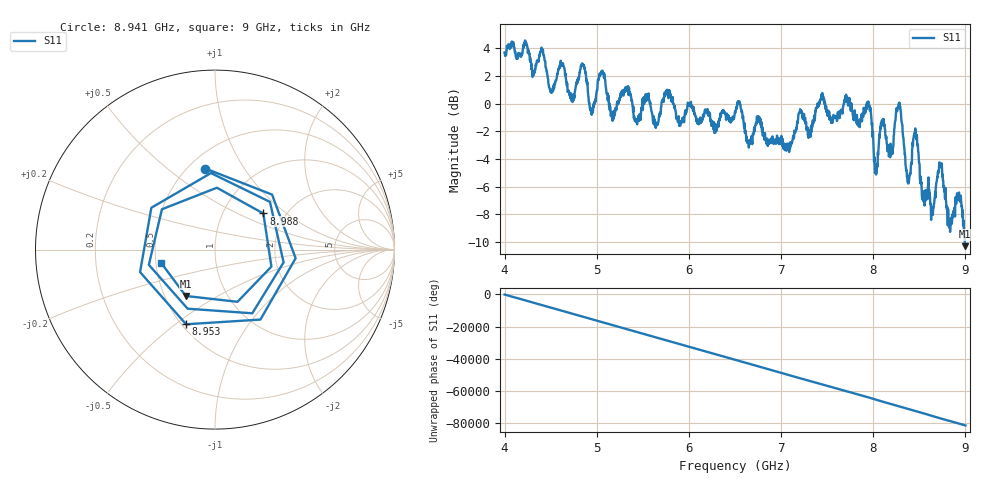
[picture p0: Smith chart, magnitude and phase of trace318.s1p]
! Created with skrf 1.8.0 (http://scikit-rf.org).
# Hz S RI R 50.0
!freq ReS11 ImS11
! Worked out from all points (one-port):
!   1601 points, 4 GHz to 9 GHz, reference 50 ohm
!   lowest |S11| = -10.3 dB at 8.997 GHz (marker M1), VSWR 1.88, Z = 32 - j18.2 ohm
!   |S11| at or under -10 dB: 8.994131 GHz to end of sweep
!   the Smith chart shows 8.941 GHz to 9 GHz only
!   S11 on the Smith chart (normalised r, x): 8.941 GHz: 0.60, +0.69; 8.953 GHz: 0.53, -0.55; 8.988 GHz: 1.54, +0.70; 9 GHz: 0.53, -0.09
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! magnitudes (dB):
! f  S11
! 4 GHz  3.7
! 4.406 GHz  3.9
! 4.503 GHz  0.8
! 4.625 GHz  2.8
! 4.731 GHz  0.3
! 4.853 GHz  2.8
! 4.941 GHz  -0.8
! 5.05 GHz  2.1
! 5.166 GHz  -0.6
! 5.25 GHz  0.3
! 5.875 GHz  -1.2
! 6.5 GHz  -0.6
! 7.125 GHz  -2.6
! 7.75 GHz  -0.1
! 7.956 GHz  -0.2
! 8.031 GHz  -5.1
! 8.275 GHz  -0.2
! 8.375 GHz  -5.7
! 8.459 GHz  -1.9
! 8.55 GHz  -6.9
! 8.644 GHz  -7.9
! 8.725 GHz  -4.4
! 8.831 GHz  -8.3
! 8.941 GHz  -6.8
! 8.953 GHz  -7.0
! 8.988 GHz  -9.5
! 8.997 GHz  -10.3
! 9 GHz  -10.2
